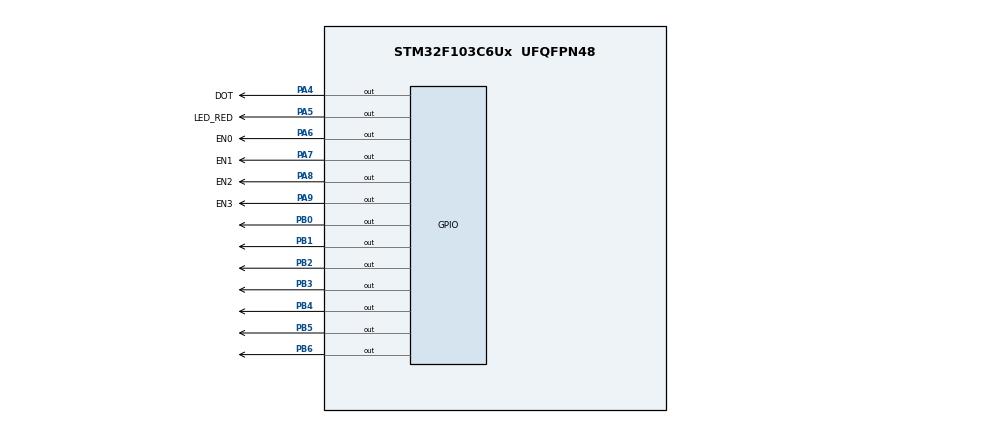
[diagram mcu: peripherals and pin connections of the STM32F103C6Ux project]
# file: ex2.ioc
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Mcu.Family=STM32F1
Mcu.Name=STM32F103C6Ux
Mcu.Package=UFQFPN48
NVIC.PriorityGroup=NVIC_PRIORITYGROUP_4
NVIC.TIM2_IRQn=true\:0\:0\:false\:false\:true\:true\:true
PA4.GPIO_Label=DOT
PA4.Signal=GPIO_Output
PA5.GPIO_Label=LED_RED
PA5.Signal=GPIO_Output
PA6.GPIO_Label=EN0
PA6.Signal=GPIO_Output
PA7.GPIO_Label=EN1
PA7.Signal=GPIO_Output
PA8.GPIO_Label=EN2
PA8.Signal=GPIO_Output
PA9.GPIO_Label=EN3
PA9.Signal=GPIO_Output
PB0.Signal=GPIO_Output
PB1.Signal=GPIO_Output
PB2.Signal=GPIO_Output
PB3.Signal=GPIO_Output
PB4.Signal=GPIO_Output
PB5.Signal=GPIO_Output
PB6.Signal=GPIO_Output
ProjectManager.HeapSize=0x200
ProjectManager.StackSize=0x400
ProjectManager.TargetToolchain=STM32CubeIDE
RCC.APB1Freq_Value=8000000
RCC.APB2Freq_Value=8000000
TIM2.Period=10
TIM2.Prescaler=7999
VP_SYS_VS_ND.Mode=No_Debug
VP_TIM2_VS_ClockSourceINT.Mode=Internal
board=custom

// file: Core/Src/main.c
/* USER CODE BEGIN Header */
/**
  ******************************************************************************
  * @file           : main.c
  * @brief          : Main program body
  ******************************************************************************
  * @attention
  *
  * <h2><center>&copy; Copyright (c) 2022 STMicroelectronics.
  * All rights reserved.</center></h2>
  *
  * This software component is licensed by ST under BSD 3-Clause license,
  * the "License"; You may not use this file except in compliance with the
  * License. You may obtain a copy of the License at:
  *                        opensource.org/licenses/BSD-3-Clause
  *
  ******************************************************************************
  */
/* USER CODE END Header */
#include "main.h"

TIM_HandleTypeDef htim2;

void SystemClock_Config(void);
static void MX_GPIO_Init(void);
static void MX_TIM2_Init(void);

/* USER CODE BEGIN 0 */
void state_7seg(int a, int b, int c , int d, int e, int f, int g){
	   HAL_GPIO_WritePin(GPIOB, GPIO_PIN_0,a);
	   HAL_GPIO_WritePin(GPIOB, GPIO_PIN_1,b);
	   HAL_GPIO_WritePin(GPIOB, GPIO_PIN_2,c);
	   HAL_GPIO_WritePin(GPIOB, GPIO_PIN_3,d);
	   HAL_GPIO_WritePin(GPIOB, GPIO_PIN_4,e);
	   HAL_GPIO_WritePin(GPIOB, GPIO_PIN_5,f);
	   HAL_GPIO_WritePin(GPIOB, GPIO_PIN_6,g);
 }
void display_led7seg(int num){
	 if (num == 0){
		 state_7seg(0,0,0,0,0,0,1);
	 }
	 if (num == 1){
		 state_7seg(1,0,0,1,1,1,1);
	 }
	 if (num == 2){
		 state_7seg(0,0,1,0,0,1,0);
	 }
	 if (num == 3){
		 state_7seg(0,0,0,0,1,1,0);
	 }
	 if (num == 4){
		 state_7seg(1,0,0,1,1,0,0);
	 }
	 if (num == 5){
		 state_7seg(0,1,0,0,1,0,0);
	 }
	 if (num == 6){
		 state_7seg(0,1,0,0,0,0,0);
	 }
	 if(num == 7){
		 state_7seg(0,0,0,1,1,1,1);
	 }
	 if (num == 8){
		 state_7seg(0,0,0,0,0,0,0);
	 }
	 if(num == 9){
		 state_7seg(0,0,0,0,1,0,0);
	 }
	 if(num >= 10){
		 state_7seg(0,0,0,0,0,0,1);
	 }
}
/* USER CODE END 0 */

int main(void)
{

  /* MCU Configuration--------------------------------------------------------*/

  /* Reset of all peripherals, Initializes the Flash interface and the Systick. */
  HAL_Init();

  /* Configure the system clock */
  SystemClock_Config();

  /* Initialize all configured peripherals */
  MX_GPIO_Init();
  MX_TIM2_Init();
  /* USER CODE BEGIN 2 */
  HAL_TIM_Base_Start_IT (& htim2 );
  /* USER CODE END 2 */

  /* Infinite loop */
  /* USER CODE BEGIN WHILE */
  state_7seg(1,1,1,1,1,1,1);
  HAL_GPIO_WritePin(DOT_GPIO_Port, DOT_Pin, 1);
  while (1)
  {
    /* USER CODE END WHILE */

  }
}

void SystemClock_Config(void)
{
  RCC_OscInitTypeDef RCC_OscInitStruct = {0};
  RCC_ClkInitTypeDef RCC_ClkInitStruct = {0};

  /** Initializes the RCC Oscillators according to the specified parameters
  * in the RCC_OscInitTypeDef structure.
  */
  RCC_OscInitStruct.OscillatorType = RCC_OSCILLATORTYPE_HSI;
  RCC_OscInitStruct.HSIState = RCC_HSI_ON;
  RCC_OscInitStruct.HSICalibrationValue = RCC_HSICALIBRATION_DEFAULT;
  RCC_OscInitStruct.PLL.PLLState = RCC_PLL_NONE;
  if (HAL_RCC_OscConfig(&RCC_OscInitStruct) != HAL_OK)
  {
    Error_Handler();
  }
  /** Initializes the CPU, AHB and APB buses clocks
  */
  RCC_ClkInitStruct.ClockType = RCC_CLOCKTYPE_HCLK|RCC_CLOCKTYPE_SYSCLK
                              |RCC_CLOCKTYPE_PCLK1|RCC_CLOCKTYPE_PCLK2;
  RCC_ClkInitStruct.SYSCLKSource = RCC_SYSCLKSOURCE_HSI;
  RCC_ClkInitStruct.AHBCLKDivider = RCC_SYSCLK_DIV1;
  RCC_ClkInitStruct.APB1CLKDivider = RCC_HCLK_DIV1;
  RCC_ClkInitStruct.APB2CLKDivider = RCC_HCLK_DIV1;

  if (HAL_RCC_ClockConfig(&RCC_ClkInitStruct, FLASH_LATENCY_0) != HAL_OK)
  {
    Error_Handler();
  }
}

static void MX_TIM2_Init(void)
{

  TIM_ClockConfigTypeDef sClockSourceConfig = {0};
  TIM_MasterConfigTypeDef sMasterConfig = {0};

  htim2.Instance = TIM2;
  htim2.Init.Prescaler = 7999;
  htim2.Init.CounterMode = TIM_COUNTERMODE_UP;
  htim2.Init.Period = 10;
  htim2.Init.ClockDivision = TIM_CLOCKDIVISION_DIV1;
  htim2.Init.AutoReloadPreload = TIM_AUTORELOAD_PRELOAD_DISABLE;
  if (HAL_TIM_Base_Init(&htim2) != HAL_OK)
  {
    Error_Handler();
  }
  sClockSourceConfig.ClockSource = TIM_CLOCKSOURCE_INTERNAL;
  if (HAL_TIM_ConfigClockSource(&htim2, &sClockSourceConfig) != HAL_OK)
  {
    Error_Handler();
  }
  sMasterConfig.MasterOutputTrigger = TIM_TRGO_RESET;
  sMasterConfig.MasterSlaveMode = TIM_MASTERSLAVEMODE_DISABLE;
  if (HAL_TIMEx_MasterConfigSynchronization(&htim2, &sMasterConfig) != HAL_OK)
  {
    Error_Handler();
  }

}

static void MX_GPIO_Init(void)
{
  GPIO_InitTypeDef GPIO_InitStruct = {0};

  /* GPIO Ports Clock Enable */
  __HAL_RCC_GPIOA_CLK_ENABLE();
  __HAL_RCC_GPIOB_CLK_ENABLE();

  /*Configure GPIO pin Output Level */
  HAL_GPIO_WritePin(GPIOA, DOT_Pin|LED_RED_Pin|EN0_Pin|EN1_Pin
                          |EN2_Pin|EN3_Pin, GPIO_PIN_RESET);

  /*Configure GPIO pin Output Level */
  HAL_GPIO_WritePin(GPIOB, GPIO_PIN_0|GPIO_PIN_1|GPIO_PIN_2|GPIO_PIN_3
                          |GPIO_PIN_4|GPIO_PIN_5|GPIO_PIN_6, GPIO_PIN_RESET);

  /*Configure GPIO pins : DOT_Pin LED_RED_Pin EN0_Pin EN1_Pin
                           EN2_Pin EN3_Pin */
  GPIO_InitStruct.Pin = DOT_Pin|LED_RED_Pin|EN0_Pin|EN1_Pin
                          |EN2_Pin|EN3_Pin;
  GPIO_InitStruct.Mode = GPIO_MODE_OUTPUT_PP;
  GPIO_InitStruct.Pull = GPIO_NOPULL;
  GPIO_InitStruct.Speed = GPIO_SPEED_FREQ_LOW;
  HAL_GPIO_Init(GPIOA, &GPIO_InitStruct);

  /*Configure GPIO pins : PB0 PB1 PB2 PB3
                           PB4 PB5 PB6 */
  GPIO_InitStruct.Pin = GPIO_PIN_0|GPIO_PIN_1|GPIO_PIN_2|GPIO_PIN_3
                          |GPIO_PIN_4|GPIO_PIN_5|GPIO_PIN_6;
  GPIO_InitStruct.Mode = GPIO_MODE_OUTPUT_PP;
  GPIO_InitStruct.Pull = GPIO_NOPULL;
  GPIO_InitStruct.Speed = GPIO_SPEED_FREQ_LOW;
  HAL_GPIO_Init(GPIOB, &GPIO_InitStruct);

}

/* USER CODE BEGIN 4 */
int count = 50;
int state  = 0;
void HAL_TIM_PeriodElapsedCallback ( TIM_HandleTypeDef * htim ){
	count--;
	if (count <= 0){
		count = 50;
		if (state == 0){
			HAL_GPIO_WritePin(EN0_GPIO_Port,EN0_Pin,0);
			HAL_GPIO_WritePin(EN1_GPIO_Port,EN1_Pin,1);
			HAL_GPIO_WritePin(EN2_GPIO_Port,EN2_Pin,1);
			HAL_GPIO_WritePin(EN3_GPIO_Port,EN3_Pin,1);
			HAL_GPIO_WritePin(DOT_GPIO_Port, DOT_Pin, 0);
			HAL_GPIO_WritePin(LED_RED_GPIO_Port, LED_RED_Pin, 0);
			display_led7seg(1);
		}
		else if(state == 1){
			HAL_GPIO_WritePin(EN0_GPIO_Port,EN0_Pin,1);
			HAL_GPIO_WritePin(EN1_GPIO_Port,EN1_Pin,0);
			HAL_GPIO_WritePin(EN2_GPIO_Port,EN2_Pin,1);
			HAL_GPIO_WritePin(EN3_GPIO_Port,EN3_Pin,1);
			display_led7seg(2);
		}
		else if(state == 2){
			HAL_GPIO_WritePin(EN0_GPIO_Port,EN0_Pin,1);
			HAL_GPIO_WritePin(EN1_GPIO_Port,EN1_Pin,1);
			HAL_GPIO_WritePin(EN2_GPIO_Port,EN2_Pin,0);
			HAL_GPIO_WritePin(EN3_GPIO_Port,EN3_Pin,1);
			HAL_GPIO_WritePin(DOT_GPIO_Port, DOT_Pin, 1);
			display_led7seg(3);
		}
		else if(state == 3){
			HAL_GPIO_WritePin(EN0_GPIO_Port,EN0_Pin,1);
			HAL_GPIO_WritePin(EN1_GPIO_Port,EN1_Pin,1);
			HAL_GPIO_WritePin(EN2_GPIO_Port,EN2_Pin,1);
			HAL_GPIO_WritePin(EN3_GPIO_Port,EN3_Pin,0);
			display_led7seg(0);
		}
		state++;
		if(state > 3){
			state = 0;
		}
	}
}
/* USER CODE END 4 */

void Error_Handler(void)
{
  __disable_irq();
  while (1)
  {
  }
}

/************************ (C) COPYRIGHT STMicroelectronics *****END OF FILE****/
